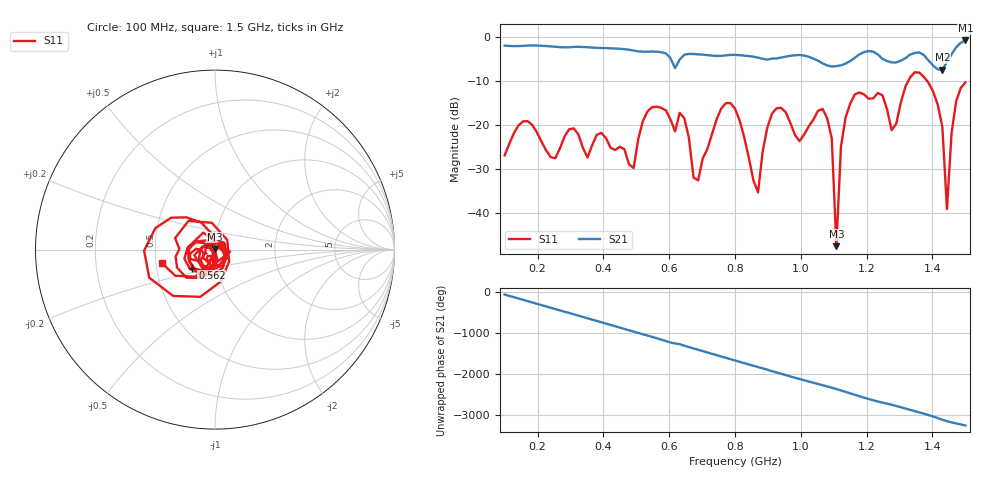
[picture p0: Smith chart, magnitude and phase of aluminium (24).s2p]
! NanoVNA-App
! Date: 2025-09-26 09:58:15
! Start: 100MHz Stop: 1,5GHz Points: 101
! S-Parameter data: F S11 S21 S12 S22
# Hz S RI R 50
!  Frequency  S11_Real  S11_Imag  S21_Real  S21_Imag  S12_Real  S12_Imag  S22_Real  S22_Imag
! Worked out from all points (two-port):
!   101 points, 100 MHz to 1.5 GHz, reference 50 ohm
!   highest |S21| = -0.73 dB at 1.5 GHz (marker M1); lowest = -7.4 dB at 1.43 GHz (marker M2)
!   |S21| within 3 dB of the highest: start of sweep to 590.3 MHz; 1.182 GHz to 1.23 GHz (47.26 MHz wide, 3.92 % of centre) (the widest 2 of 4)
!   lowest |S11| = -47.7 dB at 1.108 GHz (marker M3), VSWR 1.01, Z = 49.8 + j0.337 ohm
!   |S11| at or under -10 dB: start of sweep to 1.326 GHz; 1.384 GHz to end of sweep
!   S12 and S22 are empty: the file has one direction only
!   S11 on the Smith chart (normalised r, x): 100 MHz: 1.07, +0.06; 562 MHz: 0.76, -0.16; 1.5 GHz: 0.54, -0.09
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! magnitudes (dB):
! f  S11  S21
! 100 MHz  -27.0  -1.9
! 156 MHz  -19.2  -2.0
! 338 MHz  -25.3  -2.2
! 492 MHz  -29.9  -3.0
! 562 MHz  -15.8  -3.3
! 576 MHz  -16.1  -3.4
! 646 MHz  -18.5  -4.0
! 688 MHz  -32.6  -3.9
! 800 MHz  -16.3  -4.0
! 870 MHz  -35.4  -4.7
! 912 MHz  -17.5  -4.9
! 1.038 GHz  -18.8  -4.9
! 1.094 GHz  -23.1  -6.7
! 1.108 GHz  -47.7  -6.6
! 1.122 GHz  -24.9  -6.4
! 1.15 GHz  -15.2  -5.4
! 1.276 GHz  -21.2  -5.7
! 1.346 GHz  -8.0  -3.6
! 1.43 GHz  -20.4  -7.4
! 1.444 GHz  -39.2  -5.6
! 1.472 GHz  -14.6  -2.3
! 1.5 GHz  -10.3  -0.7
